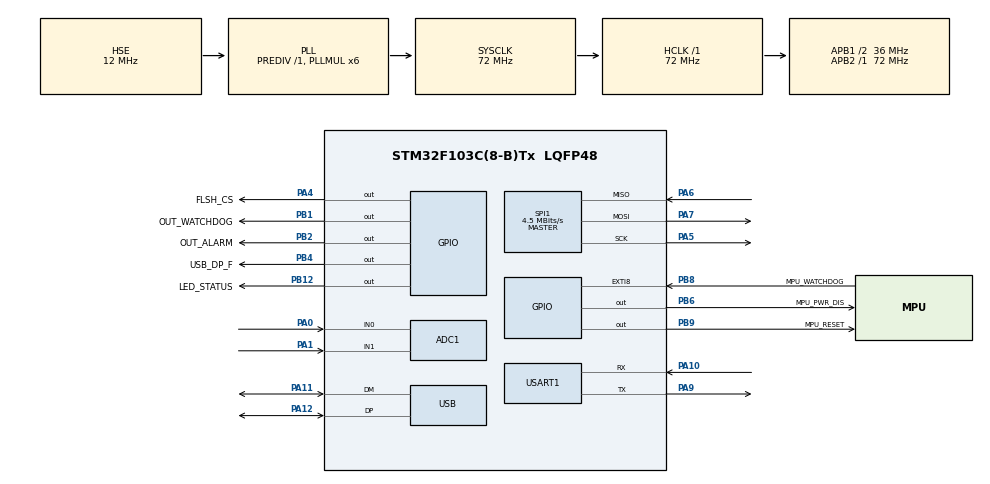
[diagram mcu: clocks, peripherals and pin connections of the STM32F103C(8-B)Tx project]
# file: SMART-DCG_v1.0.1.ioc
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ADC1.Channel-0\#ChannelRegularConversion=ADC_CHANNEL_0
ADC1.Channel-1\#ChannelRegularConversion=ADC_CHANNEL_1
ADC1.Channel-2\#ChannelRegularConversion=ADC_CHANNEL_TEMPSENSOR
ADC1.ContinuousConvMode=ENABLE
ADC1.NbrOfConversion=3
ADC1.NbrOfConversionFlag=1
ADC1.Rank-0\#ChannelRegularConversion=1
ADC1.Rank-1\#ChannelRegularConversion=2
ADC1.Rank-2\#ChannelRegularConversion=3
ADC1.SamplingTime-0\#ChannelRegularConversion=ADC_SAMPLETIME_239CYCLES_5
ADC1.SamplingTime-1\#ChannelRegularConversion=ADC_SAMPLETIME_239CYCLES_5
ADC1.SamplingTime-2\#ChannelRegularConversion=ADC_SAMPLETIME_239CYCLES_5
ADC1.master=1
Dma.ADC1.0.Direction=DMA_PERIPH_TO_MEMORY
Dma.ADC1.0.Instance=DMA1_Channel1
Dma.ADC1.0.MemDataAlignment=DMA_MDATAALIGN_WORD
Dma.ADC1.0.MemInc=DMA_MINC_ENABLE
Dma.ADC1.0.Mode=DMA_CIRCULAR
Dma.ADC1.0.PeriphDataAlignment=DMA_PDATAALIGN_WORD
Dma.ADC1.0.PeriphInc=DMA_PINC_DISABLE
Dma.ADC1.0.Priority=DMA_PRIORITY_HIGH
Dma.Request0=ADC1
IWDG.Prescaler=IWDG_PRESCALER_128
IWDG.Reload=1562
Mcu.Family=STM32F1
Mcu.Name=STM32F103C(8-B)Tx
Mcu.Package=LQFP48
NVIC.DMA1_Channel1_IRQn=true\:0\:0\:false\:false\:true\:false\:true\:true
NVIC.EXTI9_5_IRQn=true\:0\:0\:false\:false\:true\:true\:true\:true
NVIC.PriorityGroup=NVIC_PRIORITYGROUP_4
NVIC.TIM2_IRQn=true\:0\:0\:false\:false\:true\:true\:true\:true
NVIC.USB_LP_CAN1_RX0_IRQn=true\:0\:0\:false\:false\:true\:false\:true\:true
PA0-WKUP.Signal=ADCx_IN0
PA1.Signal=ADCx_IN1
PA10.Mode=Asynchronous
PA10.Signal=USART1_RX
PA11.Mode=Device
PA11.Signal=USB_DM
PA12.Mode=Device
PA12.Signal=USB_DP
PA13.Mode=Serial_Wire
PA13.Signal=SYS_JTMS-SWDIO
PA14.Mode=Serial_Wire
PA14.Signal=SYS_JTCK-SWCLK
PA4.GPIO_Label=FLSH_CS
PA4.GPIO_Speed=GPIO_SPEED_FREQ_HIGH
PA4.PinState=GPIO_PIN_SET
PA4.Signal=GPIO_Output
PA5.Mode=Full_Duplex_Master
PA5.Signal=SPI1_SCK
PA6.Mode=Full_Duplex_Master
PA6.Signal=SPI1_MISO
PA7.Mode=Full_Duplex_Master
PA7.Signal=SPI1_MOSI
PA9.Mode=Asynchronous
PA9.Signal=USART1_TX
PB1.GPIO_Label=OUT_WATCHDOG
PB1.GPIO_ModeDefaultOutputPP=GPIO_MODE_OUTPUT_PP
PB1.GPIO_PuPd=GPIO_NOPULL
PB1.GPIO_Speed=GPIO_SPEED_FREQ_HIGH
PB1.PinState=GPIO_PIN_RESET
PB1.Signal=GPIO_Output
PB12.GPIO_Label=LED_STATUS
PB12.PinState=GPIO_PIN_SET
PB12.Signal=GPIO_Output
PB2.GPIO_Label=OUT_ALARM
PB2.GPIO_Speed=GPIO_SPEED_FREQ_HIGH
PB2.Signal=GPIO_Output
PB4.GPIO_Label=USB_DP_F
PB4.GPIO_ModeDefaultOutputPP=GPIO_MODE_OUTPUT_OD
PB4.GPIO_PuPd=GPIO_NOPULL
PB4.Signal=GPIO_Output
PB6.GPIO_Label=MPU_PWR_DIS
PB6.GPIO_Speed=GPIO_SPEED_FREQ_HIGH
PB6.PinState=GPIO_PIN_RESET
PB6.Signal=GPIO_Output
PB8.GPIO_Label=MPU_WATCHDOG
PB8.Signal=GPXTI8
PB9.GPIO_Label=MPU_RESET
PB9.GPIO_Speed=GPIO_SPEED_FREQ_HIGH
PB9.PinState=GPIO_PIN_SET
PB9.Signal=GPIO_Output
PD0-OSC_IN.Mode=HSE-External-Oscillator
PD0-OSC_IN.Signal=RCC_OSC_IN
PD1-OSC_OUT.Mode=HSE-External-Oscillator
PD1-OSC_OUT.Signal=RCC_OSC_OUT
ProjectManager.HeapSize=0x200
ProjectManager.StackSize=0x400
ProjectManager.TargetToolchain=STM32CubeIDE
RCC.ADCPresc=RCC_ADCPCLK2_DIV6
RCC.AHBFreq_Value=72000000
RCC.APB1CLKDivider=RCC_HCLK_DIV2
RCC.APB1Freq_Value=36000000
RCC.APB1TimFreq_Value=72000000
RCC.APB2Freq_Value=72000000
RCC.APB2TimFreq_Value=72000000
RCC.HCLKFreq_Value=72000000
RCC.HSE_VALUE=12000000
RCC.PLLMUL=RCC_PLL_MUL6
RCC.SYSCLKFreq_VALUE=72000000
RCC.SYSCLKSource=RCC_SYSCLKSOURCE_PLLCLK
RCC.USBFreq_Value=48000000
RCC.USBPrescaler=RCC_USBCLKSOURCE_PLL_DIV1_5
SH.ADCx_IN0.0=ADC1_IN0,IN0
SH.ADCx_IN1.0=ADC1_IN1,IN1
SPI1.BaudRatePrescaler=SPI_BAUDRATEPRESCALER_16
SPI1.CalculateBaudRate=4.5 MBits/s
SPI1.Direction=SPI_DIRECTION_2LINES
SPI1.Mode=SPI_MODE_MASTER
SPI1.VirtualType=VM_MASTER
TIM2.Period=4500
TIM2.Prescaler=7
USART1.VirtualMode=VM_ASYNC
USB_DEVICE.APP_RX_DATA_SIZE=128
USB_DEVICE.APP_TX_DATA_SIZE=512
USB_DEVICE.CLASS_NAME_FS=CDC
USB_DEVICE.VirtualMode=Cdc
USB_DEVICE.VirtualModeFS=Cdc_FS
VP_ADC1_TempSens_Input.Mode=IN-TempSens
VP_IWDG_VS_IWDG.Mode=IWDG_Activate
VP_TIM2_VS_ClockSourceINT.Mode=Internal
VP_USB_DEVICE_VS_USB_DEVICE_CDC_FS.Mode=CDC_FS
board=custom

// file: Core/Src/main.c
/* USER CODE BEGIN Header */
/**
 ******************************************************************************
 * @file           : main.c
 * @brief          : Main program body
 ******************************************************************************
 * @attention
 *
 * Copyright (c) 2022 STMicroelectronics.
 * All rights reserved.
 *
 * This software is licensed under terms that can be found in the LICENSE file
 * in the root directory of this software component.
 * If no LICENSE file comes with this software, it is provided AS-IS.
 *
 ******************************************************************************
 */
/* USER CODE END Header */
#include "main.h"
#include "adc.h"
#include "dma.h"
#include "iwdg.h"
#include "spi.h"
#include "tim.h"
#include "usart.h"
#include "usb_device.h"
#include "gpio.h"

/* USER CODE BEGIN Includes */

#include "Utinity.h"
#include "Measurement.h"
#include "Communication.h"
#include "W25Q_Memory.h"
#include "ModbusData.h"

/* USER CODE END Includes */

/* USER CODE BEGIN PV */

uint16_t TickEvent = 0;		// Tick for handle event from user
uint32_t TickCounter = 0;	// Counter for handle

/* USER CODE END PV */

void SystemClock_Config(void);

int main(void)
{

  /* USER CODE BEGIN 1 */
	static uint32_t MAIN_last_tick = 0, ADC_last_tick = 0, LED_last_tick = 0,
			WDT_last_tick = 0, currentTick = 0;
  /* USER CODE END 1 */

  /* MCU Configuration--------------------------------------------------------*/

  /* Reset of all peripherals, Initializes the Flash interface and the Systick. */
  HAL_Init();

  /* Configure the system clock */
  SystemClock_Config();

  /* Initialize all configured peripherals */
  MX_GPIO_Init();
  MX_DMA_Init();
  MX_ADC1_Init();
  MX_IWDG_Init();
  MX_USB_DEVICE_Init();
  MX_TIM2_Init();
  MX_SPI1_Init();
  MX_USART1_UART_Init();
  /* USER CODE BEGIN 2 */

	HAL_TIM_Base_Start_IT(&htim2);	// tick event

	IO_init();
	ADC_init();
  	LoadConfigData();				// default setting
	Comunication_init();
	W25qxx_Check_Infomation();

	USB_Reconnect();

  /* USER CODE END 2 */

  /* Infinite loop */
  /* USER CODE BEGIN WHILE */
	while (1)
	{
		currentTick = HAL_GetTick();

		if (timeReached(currentTick, ADC_last_tick, ADC_MEASURE_TICK_TIME))
		{
			ADC_last_tick = currentTick;
			ADC_measure();
		}
		if (timeReached(currentTick, MAIN_last_tick, ModbusTask_TICK_TIME))
		{
			MAIN_last_tick = currentTick;
			ModbusTask();
		}
		if (timeReached(currentTick, LED_last_tick, LED_TASK_TICK_TIME))
		{
			LED_last_tick = currentTick;
			LED_task();
		}
		if (timeReached(currentTick, WDT_last_tick, WDT_TASK_TICK_TIME))
		{
			WDT_last_tick = currentTick;
			WDT_task();
		}
    /* USER CODE END WHILE */

	}
}

void SystemClock_Config(void)
{
  RCC_OscInitTypeDef RCC_OscInitStruct = {0};
  RCC_ClkInitTypeDef RCC_ClkInitStruct = {0};
  RCC_PeriphCLKInitTypeDef PeriphClkInit = {0};

  /** Initializes the RCC Oscillators according to the specified parameters
  * in the RCC_OscInitTypeDef structure.
  */
  RCC_OscInitStruct.OscillatorType = RCC_OSCILLATORTYPE_LSI|RCC_OSCILLATORTYPE_HSE;
  RCC_OscInitStruct.HSEState = RCC_HSE_ON;
  RCC_OscInitStruct.HSEPredivValue = RCC_HSE_PREDIV_DIV1;
  RCC_OscInitStruct.HSIState = RCC_HSI_ON;
  RCC_OscInitStruct.LSIState = RCC_LSI_ON;
  RCC_OscInitStruct.PLL.PLLState = RCC_PLL_ON;
  RCC_OscInitStruct.PLL.PLLSource = RCC_PLLSOURCE_HSE;
  RCC_OscInitStruct.PLL.PLLMUL = RCC_PLL_MUL6;
  if (HAL_RCC_OscConfig(&RCC_OscInitStruct) != HAL_OK)
  {
    Error_Handler();
  }

  /** Initializes the CPU, AHB and APB buses clocks
  */
  RCC_ClkInitStruct.ClockType = RCC_CLOCKTYPE_HCLK|RCC_CLOCKTYPE_SYSCLK
                              |RCC_CLOCKTYPE_PCLK1|RCC_CLOCKTYPE_PCLK2;
  RCC_ClkInitStruct.SYSCLKSource = RCC_SYSCLKSOURCE_PLLCLK;
  RCC_ClkInitStruct.AHBCLKDivider = RCC_SYSCLK_DIV1;
  RCC_ClkInitStruct.APB1CLKDivider = RCC_HCLK_DIV2;
  RCC_ClkInitStruct.APB2CLKDivider = RCC_HCLK_DIV1;

  if (HAL_RCC_ClockConfig(&RCC_ClkInitStruct, FLASH_LATENCY_2) != HAL_OK)
  {
    Error_Handler();
  }
  PeriphClkInit.PeriphClockSelection = RCC_PERIPHCLK_ADC|RCC_PERIPHCLK_USB;
  PeriphClkInit.AdcClockSelection = RCC_ADCPCLK2_DIV6;
  PeriphClkInit.UsbClockSelection = RCC_USBCLKSOURCE_PLL_DIV1_5;
  if (HAL_RCCEx_PeriphCLKConfig(&PeriphClkInit) != HAL_OK)
  {
    Error_Handler();
  }
}

/* USER CODE BEGIN 4 */

/**
  * @brief  EXTI line detection callbacks.
  * @param  GPIO_Pin: Specifies the pins connected EXTI line
  * @retval None
  */
void HAL_GPIO_EXTI_Callback(uint16_t GPIO_Pin)
{
	if (GPIO_Pin == MPU_WATCHDOG_Pin	// If the interrupt comes from the MPU_WATCHDOG_Pin pin
			&& HAL_GPIO_ReadPin(MPU_PWR_DIS_GPIO_Port, MPU_PWR_DIS_Pin)	== GPIO_PIN_RESET)
	{
		systemParameter.WDT_parameters.mpuWDTcount = 0;
		systemParameter.WDT_parameters.mpuWDTwaitTime = 0;
	}
}

/**
  * @brief  Period elapsed callback in non-blocking mode
  * @param  htim TIM handle
  * @retval None
  */
void HAL_TIM_PeriodElapsedCallback(TIM_HandleTypeDef *htim)
{
  /* Prevent unused argument(s) compilation warning */
  UNUSED(htim);

	if(htim->Instance == TIM2)	// create event 500uS
	{
		TickCounter++;

		static uint16_t sCount;
		if(++sCount >= 20)		// 10mS (10 * 0.5mS)
		{
			sCount = 0;
			TickEvent++;
		}
	}

//  HAL_TIM_Base_Stop_IT(htim);

  /* NOTE : This function should not be modified, when the callback is needed,
            the HAL_TIM_PeriodElapsedCallback could be implemented in the user file
   */
}

/* USER CODE END 4 */

void Error_Handler(void)
{
  /* USER CODE BEGIN Error_Handler_Debug */
	/* User can add his own implementation to report the HAL error return state */
	__disable_irq();
	HAL_GPIO_WritePin(LED_STATUS_GPIO_Port, LED_STATUS_Pin, GPIO_PIN_RESET);
	while (1)
	{
	}
  /* USER CODE END Error_Handler_Debug */
}
